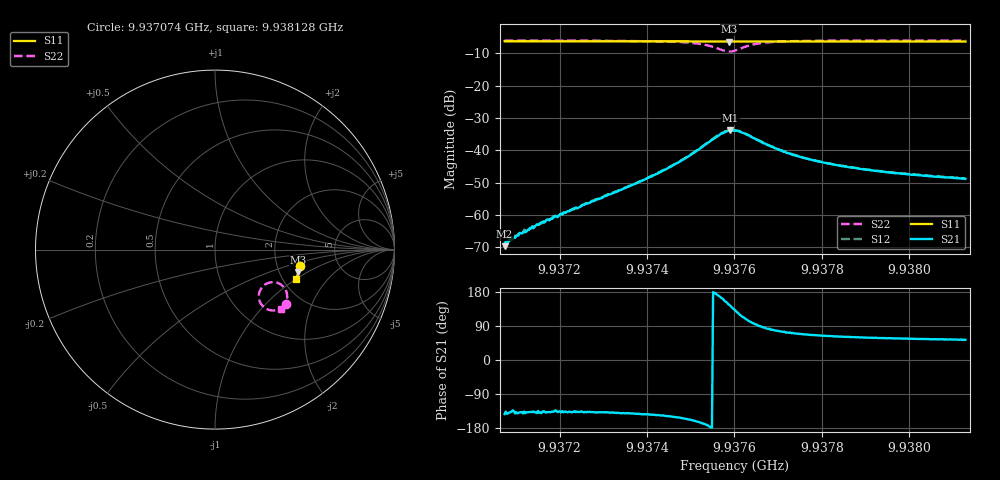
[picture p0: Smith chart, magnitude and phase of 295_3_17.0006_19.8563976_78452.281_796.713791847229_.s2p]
#  HZ  S  RI  R  50.00
! Rohde & Schwarz Vector Network Analyzer
! Rohde-Schwarz,ZNB20-2Port,1311601062101988,3.16
! Created: UTC 3/20/2024, 11:05:16 PM
! freq[Hz]  re:S11  im:S11  re:S21  im:S21  re:S12  im:S12  re:S22  im:S22
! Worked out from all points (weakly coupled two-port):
!   401 points, 9.937074 GHz to 9.938128 GHz, reference 50 ohm
!   highest |S21| = -33.83 dB at 9.937591 GHz (marker M1); lowest = -69.6 dB at 9.937074 GHz (marker M2)
!   lowest |S11| = -6.4 dB at 9.937588 GHz (marker M3), VSWR 2.84, Z = 127 - j41.3 ohm
!   |S11| at or under -10 dB: nowhere
!   |S22| runs from -9.5 to -6.0 dB; largest |S21 - S12| = 0.00084
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9.9370744e9  0.4756 -0.0924  -0.000263 -0.000201  -0.000291 -0.000215  0.3946 -0.3041
9.9370823e9  0.4754 -0.0932  -0.000304 -0.000247  -0.00029 -0.000246  0.3941 -0.3046
9.9370902e9  0.4752 -0.0937  -0.000302 -0.000286  -0.000305 -0.000266  0.3935 -0.3052
9.9371139e9  0.4746 -0.0952  -0.000383 -0.000351  -0.00042 -0.000323  0.3918 -0.3068
9.9371324e9  0.4744 -0.0967  -0.000462 -0.00043  -0.00046 -0.000419  0.3905 -0.3084
9.9371903e9  0.4734 -0.1004  -0.000643 -0.000694  -0.000741 -0.000641  0.3857 -0.3127
9.9372509e9  0.4722 -0.1045  -0.000996 -0.000971  -0.00107 -0.000951  0.3798 -0.3178
9.9373747e9  0.4696 -0.1129  -0.00242 -0.00191  -0.00246 -0.00191  0.3615 -0.3298
9.9374274e9  0.4683 -0.1165  -0.00375 -0.00256  -0.00381 -0.00252  0.3478 -0.3352
9.9374801e9  0.467 -0.1201  -0.00628 -0.00316  -0.00643 -0.00313  0.3239 -0.339
9.9375302e9  0.4653 -0.1235  -0.0116 -0.00243  -0.0118 -0.00213  0.2805 -0.3265
9.9375644e9  0.4639 -0.1251  -0.0167 0.00315  -0.0172 0.00378  0.2455 -0.2753
9.9375881e9  0.4631 -0.1256  -0.0165 0.0112  -0.0164 0.012  0.2605 -0.2118
9.9375908e9  0.463 -0.1259  -0.0162 0.0123  -0.0158 0.013  0.2659 -0.2057
9.9376013e9  0.4633 -0.1259  -0.0133 0.0151  -0.0131 0.0158  0.2924 -0.1874
9.9376303e9  0.4634 -0.1275  -0.00449 0.0167  -0.00397 0.017  0.3627 -0.1921
9.9376566e9  0.4635 -0.1295  0.000101 0.014  0.000476 0.0141  0.3919 -0.2214
9.9377172e9  0.4626 -0.1339  0.00285 0.00888  0.00289 0.00899  0.402 -0.2679
9.9377778e9  0.4614 -0.1381  0.00286 0.00649  0.00305 0.00648  0.3969 -0.2905
9.937849e9  0.4595 -0.1428  0.00275 0.00498  0.00286 0.00503  0.3899 -0.3054
9.9379543e9  0.4571 -0.1497  0.00242 0.00386  0.00255 0.00384  0.3809 -0.3191
9.9381282e9  0.4524 -0.161  0.00216 0.00292  0.00223 0.00294  0.3685 -0.3337
